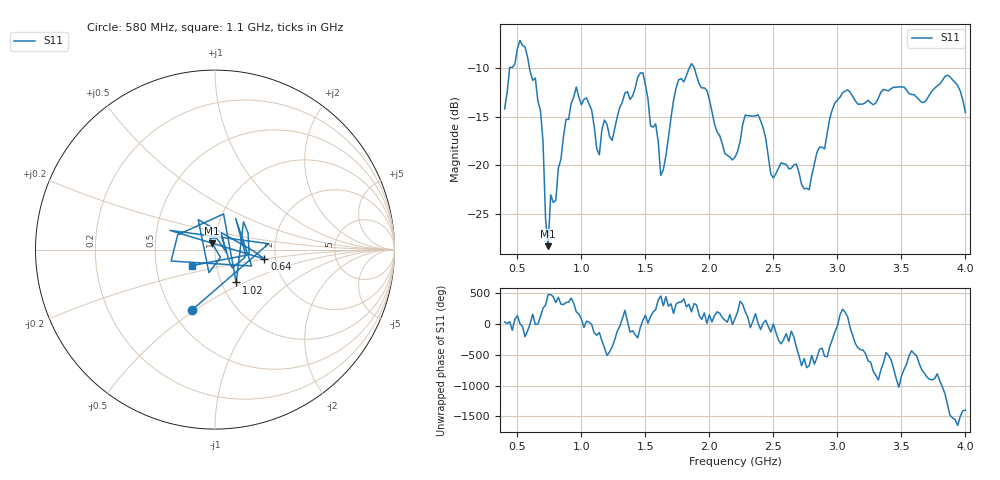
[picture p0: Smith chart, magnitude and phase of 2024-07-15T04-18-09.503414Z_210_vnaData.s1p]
!Created with skrf (http://scikit-rf.org).
# Hz S RI R 50.0
!freq ReS11 ImS11
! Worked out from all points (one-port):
!   181 points, 400 MHz to 4 GHz, reference 50 ohm
!   lowest |S11| = -28.3 dB at 740 MHz (marker M1), VSWR 1.08, Z = 48.3 + j3.36 ohm
!   |S11| at or under -10 dB: start of sweep to 439.5 MHz; 594.2 MHz to 1.843 GHz (1.249 GHz wide, 102 % of centre); 1.882 GHz to end of sweep
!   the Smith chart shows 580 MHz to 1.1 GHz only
!   S11 on the Smith chart (normalised r, x): 580 MHz: 0.63, -0.49; 640 MHz: 1.75, -0.20; 1.02 GHz: 1.17, -0.45; 1.1 GHz: 0.76, -0.14
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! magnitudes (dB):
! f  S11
! 400 MHz  -14.2
! 520 MHz  -7.2
! 580 MHz  -8.9
! 640 MHz  -11.0
! 700 MHz  -17.5
! 740 MHz  -28.3
! 760 MHz  -23.0
! 800 MHz  -23.6
! 860 MHz  -17.1
! 960 MHz  -12.0
! 1.02 GHz  -13.2
! 1.1 GHz  -16.0
! 1.14 GHz  -18.9
! 1.3 GHz  -14.1
! 1.48 GHz  -10.5
! 1.62 GHz  -21.1
! 1.76 GHz  -11.2
! 1.88 GHz  -9.9
! 2.2 GHz  -19.2
! 2.38 GHz  -14.8
! 2.5 GHz  -21.3
! 2.66 GHz  -20.0
! 2.78 GHz  -22.5
! 2.98 GHz  -13.6
! 3.1 GHz  -12.5
! 3.56 GHz  -12.6
! 3.86 GHz  -10.8
! 4 GHz  -14.6
